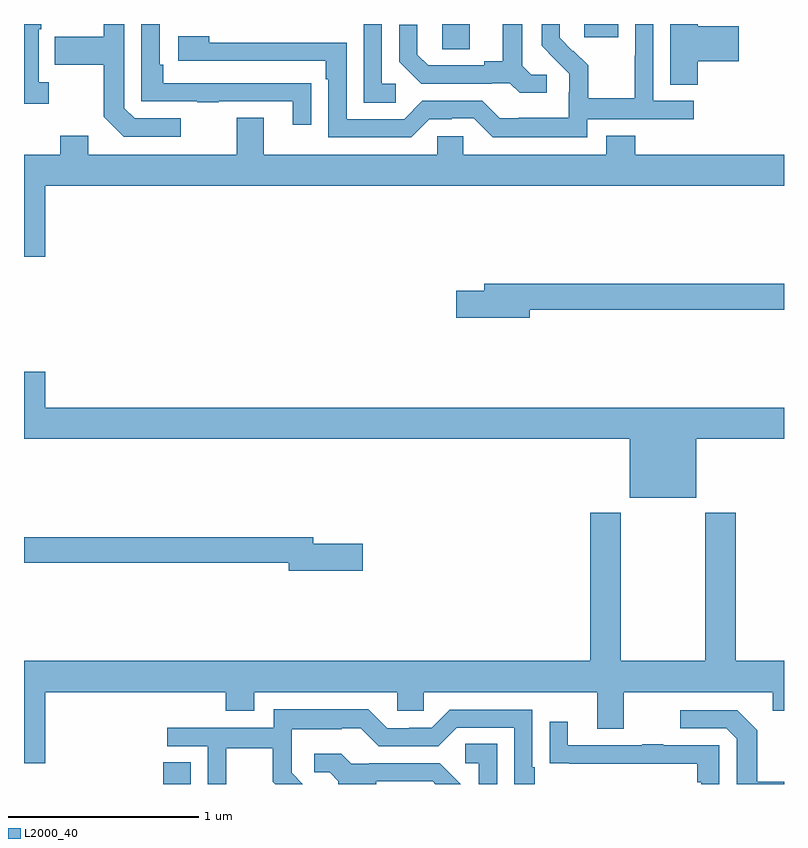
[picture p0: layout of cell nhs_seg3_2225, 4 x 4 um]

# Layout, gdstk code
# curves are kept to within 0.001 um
import gdstk
lib = gdstk.Library(unit=1e-6, precision=1e-09)
def R(c, l, rs):  # rectangles x0, y0, x1, y1
    for r in rs: c.add(gdstk.rectangle(r[:2], r[2:], *l))
def P(c, l, *ps):  # polygons
    for p in ps: c.add(gdstk.Polygon(p, *l))
L2000_40 = (2000, 40)

nhs_seg3_2225 = lib.new_cell('nhs_seg3_2225')
R(nhs_seg3_2225, L2000_40, [(225.734,732.4,225.877,732.515), (227.202,736.267,227.347,736.4), (227.948,736.329,228.127,736.4)])
P(nhs_seg3_2225, L2000_40, [(227.964,735.9),(228.526,735.9),(228.526,735.996),(228.312,735.996),(228.312,736.4),(228.216,736.4),(228.216,736.232),(228.214,736.232),(228.214,736.009),(227.969,736.009),(227.969,736.183),(227.892,736.26),(227.889,736.257),(227.819,736.328),(227.819,736.4),(227.724,736.4),(227.724,736.286),(227.87,736.138),(227.87,736.041),(227.868,736.041),(227.868,735.907),(227.605,735.907),(227.605,735.903),(227.505,735.903),(227.412,735.996),(227.097,735.996),(227.001,735.9),(226.698,735.9),(226.698,736.302),(225.974,736.302),(225.974,736.336),(225.813,736.336),(225.813,736.206),(226.589,736.206),(226.589,736.109),(226.602,736.109),(226.602,735.804),(227.037,735.804),(227.133,735.9),(227.252,735.9),(227.252,735.903),(227.367,735.903),(227.467,735.803),(227.964,735.803)],
  [(225.826,735.903),(225.582,735.903),(225.528,735.957),(225.528,736.4),(225.42,736.4),(225.42,736.333),(225.163,736.333),(225.163,736.186),(225.42,736.186),(225.42,735.913),(225.525,735.807),(225.826,735.807)],
  [(228.545,736.205),(228.763,736.205),(228.763,736.388),(228.545,736.388),(228.545,736.4),(228.401,736.4),(228.401,736.081),(228.545,736.081)],
  [(227.752,736.134),(227.67,736.134),(227.623,736.181),(227.623,736.4),(227.519,736.4),(227.519,736.205),(227.423,736.205),(227.423,736.182),(227.128,736.182),(227.071,736.239),(227.071,736.396),(226.974,736.396),(226.974,736.202),(227.09,736.086),(227.462,736.086),(227.462,736.089),(227.556,736.089),(227.608,736.037),(227.752,736.037)],
  [(226.957,736.086),(226.884,736.086),(226.884,736.4),(226.788,736.4),(226.788,735.985),(226.957,735.985)],
  [(225.13,736.094),(225.078,736.094),(225.078,736.373),(225.091,736.373),(225.091,736.4),(225,736.4),(225,735.981),(225.13,735.981)],
  [(226.511,736.088),(226.409,736.088),(226.409,736.089),(225.734,736.089),(225.734,736.186),(225.714,736.186),(225.714,736.4),(225.618,736.4),(225.618,735.993),(225.913,735.993),(225.913,735.988),(226.025,735.988),(226.025,735.993),(226.415,735.993),(226.415,735.87),(226.511,735.87)],
  [(225.112,735.548),(229,735.548),(229,735.712),(228.218,735.712),(228.218,735.811),(228.065,735.811),(228.065,735.712),(227.313,735.712),(227.313,735.81),(227.175,735.81),(227.175,735.712),(226.261,735.712),(226.261,735.907),(226.121,735.907),(226.121,735.712),(225.337,735.712),(225.337,735.811),(225.19,735.811),(225.19,735.712),(225,735.712),(225,735.174),(225.112,735.174)],
  [(227.662,734.896),(229,734.896),(229,735.032),(227.423,735.032),(227.423,734.996),(227.274,734.996),(227.274,734.854),(227.662,734.854)],
  [(228.538,734.216),(229,734.216),(229,734.38),(225.112,734.38),(225.112,734.569),(225,734.569),(225,734.216),(228.188,734.216),(228.188,733.907),(228.538,733.907)],
  [(225.112,732.884),(226.061,732.884),(226.061,732.785),(226.213,732.785),(226.213,732.884),(226.965,732.884),(226.965,732.786),(227.103,732.786),(227.103,732.884),(228.017,732.884),(228.017,732.69),(228.157,732.69),(228.157,732.884),(228.941,732.884),(228.941,732.785),(229,732.785),(229,733.048),(228.746,733.048),(228.746,733.828),(228.586,733.828),(228.586,733.048),(228.141,733.048),(228.141,733.828),(227.981,733.828),(227.981,733.048),(225,733.048),(225,732.51),(225.112,732.51)],
  [(226.783,733.664),(226.522,733.664),(226.522,733.7),(225,733.7),(225,733.564),(226.394,733.564),(226.394,733.522),(226.783,733.522)],
  [(226.065,732.588),(226.309,732.588),(226.309,732.413),(226.322,732.4),(226.466,732.4),(226.408,732.458),(226.408,732.555),(226.41,732.555),(226.41,732.689),(226.673,732.689),(226.673,732.693),(226.773,732.693),(226.866,732.6),(227.181,732.6),(227.277,732.696),(227.58,732.696),(227.58,732.4),(227.689,732.4),(227.689,732.487),(227.676,732.487),(227.676,732.792),(227.241,732.792),(227.145,732.696),(227.027,732.696),(227.027,732.693),(226.911,732.693),(226.811,732.793),(226.314,732.793),(226.314,732.696),(225.753,732.696),(225.753,732.6),(225.966,732.6),(225.966,732.4),(226.065,732.4)],
  [(229,732.411),(228.859,732.411),(228.859,732.683),(228.753,732.789),(228.453,732.789),(228.453,732.693),(228.696,732.693),(228.75,732.639),(228.75,732.4),(229,732.4)],
  [(228.66,732.603),(228.365,732.603),(228.365,732.608),(228.253,732.608),(228.253,732.603),(227.863,732.603),(227.863,732.727),(227.767,732.727),(227.767,732.508),(227.869,732.508),(227.869,732.507),(228.544,732.507),(228.544,732.41),(228.564,732.41),(228.564,732.4),(228.66,732.4)],
  [(227.49,732.611),(227.322,732.611),(227.322,732.51),(227.394,732.51),(227.394,732.4),(227.49,732.4)],
  [(226.855,732.414),(227.15,732.414),(227.164,732.4),(227.298,732.4),(227.188,732.51),(226.816,732.51),(226.816,732.507),(226.722,732.507),(226.67,732.559),(226.527,732.559),(226.527,732.462),(226.608,732.462),(226.655,732.415),(226.655,732.4),(226.855,732.4)])

lib.write_gds('nhs_seg3_2225.gds')
